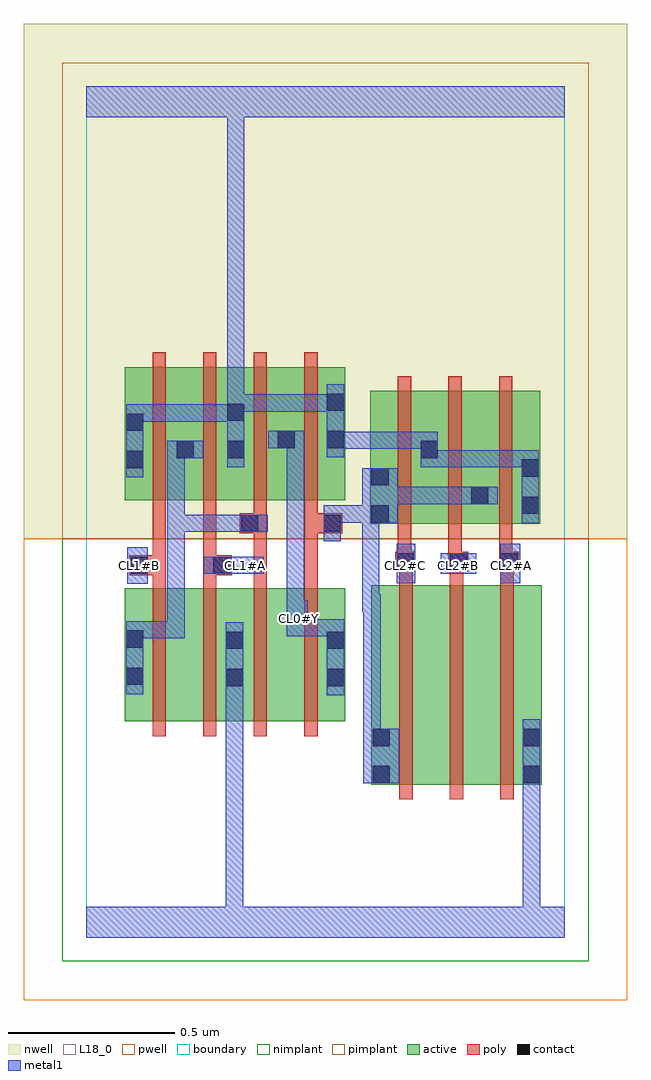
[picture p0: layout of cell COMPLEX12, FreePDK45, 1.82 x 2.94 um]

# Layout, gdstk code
import gdstk
lib = gdstk.Library(unit=1e-6, precision=1e-09)
def R(c, l, rs):  # rectangles x0, y0, x1, y1
    for r in rs: c.add(gdstk.rectangle(r[:2], r[2:], *l))
def A(c, l, x, y, w, h, nx, ny, dx, dy):  # array of equal rectangles
    R(c, l, [(x+i*dx, y+j*dy, x+i*dx+w, y+j*dy+h) for i in range(nx) for j in range(ny)])
active = (1, 0)
pwell = (2, 0)
nwell = (3, 0)
nimplant = (4, 0)
pimplant = (5, 0)
poly = (9, 0)
contact = (10, 0)
metal1 = (11, 0)
L18_0 = (18, 0)
boundary = (235, 0)

complex12 = lib.new_cell('COMPLEX12')
A(complex12, active, 1.002, 1.244, 0.06, 0.4, 3, 1, 0.152, 0)
A(complex12, active, 0.116, 1.316, 0.212, 0.4, 3, 1, 0.152, 0)
R(complex12, active, [(0.858,0.46,0.918,1.06), (0.858,0.46,1.038,1.06), (1.038,0.46,1.19,1.06), (1.19,0.46,1.37,1.06), (1.31,0.46,1.37,1.06), (0.116,0.65,0.296,1.05), (0.296,0.65,0.476,1.05), (0.416,0.65,0.6,1.05), (0.416,0.65,0.476,1.012), (0.6,0.65,0.78,1.05), (0.72,0.65,0.78,1.05), (0.116,0.756,0.176,1.05), (0.854,1.244,0.914,1.644), (0.854,1.244,1.062,1.644), (1.002,1.244,1.214,1.644), (1.154,1.244,1.366,1.644), (0.116,1.316,0.176,1.716), (0.268,1.316,0.328,1.716), (0.572,1.316,0.78,1.716), (0.72,1.316,0.78,1.716), (0.42,1.438,0.48,1.644), (0.572,1.468,0.632,1.644)])
R(complex12, pwell, [(-0.188,-0.188,1.628,1.2)])
R(complex12, nwell, [(-0.188,1.2,1.628,2.748)])
R(complex12, nimplant, [(-0.072,-0.072,1.512,1.2)])
R(complex12, pimplant, [(-0.072,1.2,1.512,2.632)])
A(complex12, poly, 0.942, 0.416, 0.04, 0.688, 3, 1, 0.152, 0)
A(complex12, poly, 0.2, 0.606, 0.04, 0.488, 4, 2, 0.152, 0.666)
A(complex12, poly, 0.942, 1.064, 0.04, 0.076, 3, 1, 0.152, 0)
A(complex12, poly, 0.938, 1.12, 0.04, 0.12, 3, 1, 0.152, 0)
A(complex12, poly, 0.938, 1.2, 0.04, 0.488, 3, 1, 0.152, 0)
R(complex12, poly, [(0.2,1.054,0.24,1.13), (0.352,1.054,0.392,1.13), (0.504,1.054,0.544,1.256), (0.656,1.054,0.696,1.256), (0.13,1.09,0.24,1.15), (0.2,1.09,0.24,1.13), (0.2,1.09,0.24,1.13), (0.352,1.09,0.438,1.15), (0.93,1.1,0.99,1.16), (0.942,1.1,0.982,1.14), (0.942,1.1,0.982,1.14), (1.09,1.1,1.15,1.16), (1.242,1.1,1.302,1.16), (1.246,1.1,1.286,1.14), (1.246,1.1,1.286,1.14), (0.2,1.11,0.24,1.312), (0.352,1.11,0.392,1.15), (0.352,1.11,0.392,1.15), (0.352,1.11,0.392,1.312), (1.09,1.12,1.13,1.16), (1.09,1.12,1.13,1.16), (0.462,1.216,0.544,1.276), (0.504,1.216,0.544,1.256), (0.504,1.216,0.544,1.256), (0.656,1.216,0.696,1.256), (0.656,1.216,0.696,1.256), (0.656,1.216,0.77,1.276), (0.504,1.236,0.544,1.312), (0.656,1.236,0.696,1.312)])
R(complex12, contact, [(0.862,0.464,0.914,0.516), (1.314,0.464,1.366,0.516), (0.862,0.576,0.914,0.628), (1.314,0.576,1.366,0.628), (0.42,0.756,0.472,0.808), (0.724,0.756,0.776,0.808), (0.12,0.76,0.172,0.812), (0.42,0.868,0.472,0.92), (0.724,0.868,0.776,0.92), (0.12,0.872,0.172,0.924), (0.134,1.094,0.186,1.146), (0.382,1.094,0.434,1.146), (0.934,1.104,0.986,1.156), (1.094,1.104,1.146,1.156), (1.246,1.104,1.298,1.156), (0.466,1.22,0.518,1.272), (0.714,1.22,0.766,1.272), (0.858,1.248,0.91,1.3), (1.31,1.274,1.362,1.326), (1.158,1.304,1.21,1.356), (0.858,1.36,0.91,1.412), (1.31,1.386,1.362,1.438), (0.12,1.412,0.172,1.464), (0.272,1.442,0.324,1.494), (0.424,1.442,0.476,1.494), (1.006,1.442,1.058,1.494), (0.576,1.472,0.628,1.524), (0.724,1.472,0.776,1.524), (0.12,1.524,0.172,1.576), (0.424,1.554,0.476,1.606), (0.724,1.584,0.776,1.636)])
R(complex12, metal1, [(0,0,1.44,0.092), (0.42,0.04,0.472,0.092), (0.42,0.04,0.472,0.092), (0.42,0.04,0.472,0.78), (1.314,0.04,1.366,0.092), (1.314,0.04,1.366,0.092), (1.314,0.04,1.366,0.092), (1.314,0.04,1.366,0.092), (1.314,0.04,1.366,0.092), (1.314,0.04,1.366,0.092), (1.314,0.04,1.366,0.488), (1.314,0.436,1.366,0.488), (1.314,0.436,1.366,0.488), (1.314,0.436,1.366,0.656), (0.834,0.464,0.942,0.628), (0.834,0.576,0.886,1.032), (0.42,0.728,0.472,0.78), (0.42,0.728,0.472,0.78), (0.42,0.728,0.472,0.78), (0.42,0.728,0.472,0.78), (0.42,0.728,0.472,0.78), (0.42,0.728,0.472,0.78), (0.42,0.728,0.472,0.78), (0.42,0.728,0.472,0.78), (0.42,0.728,0.472,0.78), (0.42,0.728,0.472,0.78), (0.42,0.728,0.472,0.948), (0.724,0.728,0.776,0.948), (0.12,0.732,0.172,0.952), (0.724,0.896,0.776,0.958), (0.12,0.9,0.172,0.952), (0.12,0.9,0.172,0.952), (0.12,0.9,0.172,0.952), (0.12,0.9,0.172,0.952), (0.12,0.9,0.296,0.952), (0.244,0.9,0.296,0.952), (0.244,0.9,0.296,1.272), (0.604,0.906,0.666,1.014), (0.614,0.906,0.666,0.958), (0.614,0.906,0.666,0.958), (0.614,0.906,0.776,0.958), (0.724,0.906,0.776,0.958), (0.604,0.962,0.656,1.524), (0.83,0.98,0.882,1.3), (0.83,0.98,0.886,1.032), (0.124,1.064,0.186,1.174), (0.934,1.066,0.99,1.184), (1.246,1.066,1.306,1.184), (0.354,1.094,0.534,1.146), (1.066,1.094,1.174,1.156), (0.714,1.192,0.766,1.3), (0.244,1.22,0.296,1.272), (0.244,1.22,0.296,1.272), (0.244,1.22,0.296,1.272), (0.244,1.22,0.49,1.272), (0.244,1.22,0.296,1.494), (0.438,1.22,0.49,1.272), (0.438,1.22,0.49,1.272), (0.438,1.22,0.546,1.272), (1.31,1.246,1.362,1.466), (0.714,1.248,0.776,1.3), (0.724,1.248,0.776,1.3), (0.724,1.248,0.882,1.3), (0.83,1.248,0.882,1.3), (0.83,1.248,0.882,1.3), (0.83,1.248,0.938,1.412), (0.886,1.304,0.938,1.356), (0.886,1.304,0.938,1.356), (0.886,1.304,1.048,1.356), (0.996,1.304,1.048,1.356), (0.996,1.304,1.048,1.356), (0.996,1.304,1.048,1.356), (0.996,1.304,1.182,1.356), (1.13,1.304,1.238,1.356), (0.12,1.384,0.172,1.604), (0.424,1.414,0.476,1.634), (1.006,1.414,1.188,1.466), (1.006,1.414,1.058,1.522), (1.136,1.414,1.188,1.466), (1.136,1.414,1.188,1.466), (1.136,1.414,1.188,1.466), (1.136,1.414,1.362,1.466), (1.31,1.414,1.362,1.466), (1.31,1.414,1.362,1.466), (0.244,1.442,0.352,1.494), (0.724,1.444,0.776,1.664), (0.724,1.47,0.886,1.522), (0.834,1.47,0.886,1.522), (0.834,1.47,0.886,1.522), (0.834,1.47,0.886,1.522), (0.834,1.47,1.058,1.522), (0.548,1.472,0.656,1.524), (0.604,1.472,0.656,1.524), (0.604,1.472,0.656,1.524), (0.12,1.552,0.172,1.604), (0.12,1.552,0.172,1.604), (0.12,1.552,0.296,1.604), (0.244,1.552,0.296,1.604), (0.244,1.552,0.296,1.604), (0.244,1.552,0.296,1.604), (0.244,1.552,0.476,1.604), (0.424,1.582,0.476,1.634), (0.424,1.582,0.476,1.634), (0.424,1.582,0.476,1.634), (0.424,1.582,0.476,1.634), (0.424,1.582,0.476,1.634), (0.424,1.582,0.476,1.634), (0.424,1.582,0.476,1.634), (0.424,1.582,0.476,1.634), (0.424,1.582,0.476,1.634), (0.424,1.582,0.476,1.634), (0.424,1.582,0.476,1.634), (0.424,1.582,0.476,1.634), (0.424,1.582,0.476,1.634), (0.424,1.582,0.476,1.634), (0.424,1.582,0.476,1.634), (0.424,1.582,0.476,1.634), (0.424,1.582,0.656,1.634), (0.424,1.582,0.476,2.52), (0.604,1.582,0.656,1.634), (0.604,1.582,0.656,1.634), (0.604,1.582,0.656,1.634), (0.604,1.582,0.776,1.634), (0,2.468,1.44,2.56), (0.424,2.468,0.476,2.52), (0.424,2.468,0.476,2.52)])
A(complex12, L18_0, 0.934, 1.094, 0.052, 0.052, 3, 1, 0.16, 0)
R(complex12, L18_0, [(0,0,1.44,0.092), (0.42,0.04,0.472,0.092), (0.42,0.04,0.472,0.092), (0.42,0.04,0.472,0.78), (1.314,0.04,1.366,0.092), (1.314,0.04,1.366,0.092), (1.314,0.04,1.366,0.092), (1.314,0.04,1.366,0.092), (1.314,0.04,1.366,0.092), (1.314,0.04,1.366,0.092), (1.314,0.04,1.366,0.488), (1.314,0.436,1.366,0.656), (1.314,0.436,1.366,0.488), (1.314,0.436,1.366,0.488), (0.42,0.728,0.472,0.948), (0.42,0.728,0.472,0.78), (0.42,0.728,0.472,0.78), (0.42,0.728,0.472,0.78), (0.42,0.728,0.472,0.78), (0.42,0.728,0.472,0.78), (0.42,0.728,0.472,0.78), (0.42,0.728,0.472,0.78), (0.42,0.728,0.472,0.78), (0.42,0.728,0.472,0.78), (0.42,0.728,0.472,0.78), (0.724,0.728,0.776,0.948), (0.724,0.896,0.776,0.958), (0.604,0.906,0.666,1.014), (0.614,0.906,0.666,0.958), (0.614,0.906,0.666,0.958), (0.614,0.906,0.776,0.958), (0.724,0.906,0.776,0.958), (0.614,0.934,0.666,0.986), (0.604,0.962,0.656,1.524), (0.124,1.064,0.186,1.174), (0.934,1.066,0.99,1.184), (1.246,1.066,1.306,1.184), (0.134,1.094,0.186,1.146), (0.354,1.094,0.534,1.146), (0.454,1.094,0.506,1.146), (1.066,1.094,1.174,1.156), (1.31,1.246,1.362,1.466), (0.12,1.384,0.172,1.604), (0.424,1.414,0.476,1.634), (1.006,1.414,1.058,1.522), (1.006,1.414,1.188,1.466), (1.136,1.414,1.188,1.466), (1.136,1.414,1.188,1.466), (1.136,1.414,1.188,1.466), (1.136,1.414,1.362,1.466), (1.31,1.414,1.362,1.466), (1.31,1.414,1.362,1.466), (0.724,1.444,0.776,1.664), (0.724,1.47,0.886,1.522), (0.834,1.47,0.886,1.522), (0.834,1.47,0.886,1.522), (0.834,1.47,0.886,1.522), (0.834,1.47,1.058,1.522), (0.548,1.472,0.656,1.524), (0.604,1.472,0.656,1.524), (0.604,1.472,0.656,1.524), (0.12,1.552,0.172,1.604), (0.12,1.552,0.172,1.604), (0.12,1.552,0.296,1.604), (0.244,1.552,0.296,1.604), (0.244,1.552,0.296,1.604), (0.244,1.552,0.296,1.604), (0.244,1.552,0.476,1.604), (0.424,1.582,0.476,1.634), (0.424,1.582,0.476,1.634), (0.424,1.582,0.476,1.634), (0.424,1.582,0.476,1.634), (0.424,1.582,0.476,1.634), (0.424,1.582,0.476,1.634), (0.424,1.582,0.476,1.634), (0.424,1.582,0.476,1.634), (0.424,1.582,0.476,1.634), (0.424,1.582,0.476,1.634), (0.424,1.582,0.476,1.634), (0.424,1.582,0.476,1.634), (0.424,1.582,0.476,1.634), (0.424,1.582,0.476,1.634), (0.424,1.582,0.476,1.634), (0.424,1.582,0.476,1.634), (0.424,1.582,0.656,1.634), (0.424,1.582,0.476,2.52), (0.604,1.582,0.656,1.634), (0.604,1.582,0.656,1.634), (0.604,1.582,0.656,1.634), (0.604,1.582,0.776,1.634), (0,2.468,1.44,2.56), (0.424,2.468,0.476,2.52), (0.424,2.468,0.476,2.52)])
R(complex12, boundary, [(0,0,1.44,2.56)])
complex12.add(gdstk.Label('CL0#Y', (0.64,0.96), layer=11, texttype=0))
complex12.add(gdstk.Label('CL1#A', (0.48,1.12), layer=11, texttype=0))
complex12.add(gdstk.Label('CL1#B', (0.16,1.12), layer=11, texttype=0))
complex12.add(gdstk.Label('CL2#A', (1.28,1.12), layer=11, texttype=0))
complex12.add(gdstk.Label('CL2#B', (1.12,1.12), layer=11, texttype=0))
complex12.add(gdstk.Label('CL2#C', (0.96,1.12), layer=11, texttype=0))

lib.write_gds('COMPLEX12.gds')
